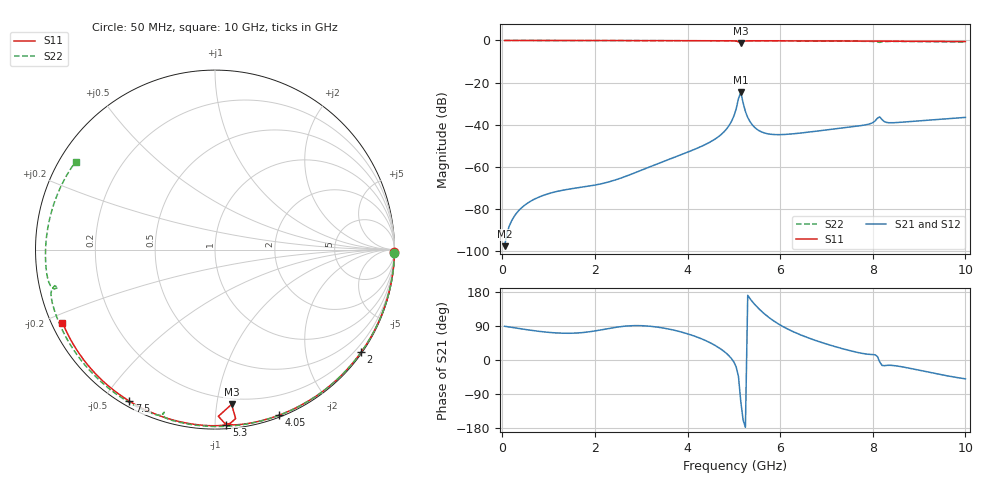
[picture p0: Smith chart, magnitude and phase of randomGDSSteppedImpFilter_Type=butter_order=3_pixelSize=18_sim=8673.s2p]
! freq	dB(S11)	phase(S11)	dB(S12)	phase(S12)
!  dB(S21)	phase(S21)	dB(S22)	phase(S22)
!S-par simulation data
#  GHz  S  DB  R 50
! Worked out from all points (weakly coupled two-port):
!   200 points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, 50 MHz to 10 GHz, reference 50 ohm
!   highest |S21| = -24.65 dB at 5.15 GHz (marker M1); lowest = -97.7 dB at 50 MHz (marker M2)
!   lowest |S11| = -1.2 dB at 5.15 GHz (marker M3), VSWR 14.05, Z = 7.91 - j55 ohm
!   |S11| at or under -10 dB: nowhere
!   |S22| runs from -0.9 to 0.0 dB; largest |S21 - S12| = 0
!   S11 on the Smith chart (normalised r, x): 50 MHz: open; 2 GHz: 0.03, -3.16; 4.05 GHz: 0.02, -1.46; 5.3 GHz: 0.02, -1.07; 7.5 GHz: 0.02, -0.58; 10 GHz: 0.03, -0.23
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0.05  -0.00 -0.9  -97.70 89.0  -97.70 89.0  -0.00 -1.1
0.4  -0.01 -7.2  -79.80 82.3  -79.80 82.3  -0.01 -9.0
0.9  -0.02 -16.0  -73.46 74.2  -73.46 74.2  -0.02 -20.1
1.75  -0.04 -30.8  -69.59 72.6  -69.59 72.6  -0.05 -38.6
2  -0.04 -35.1  -68.69 76.7  -68.69 76.7  -0.06 -44.0
3.4  -0.08 -58.5  -58.18 85.9  -58.18 85.9  -0.10 -73.2
4.05  -0.10 -69.0  -52.63 67.2  -52.63 67.2  -0.12 -86.3
4.75  -0.13 -80.3  -44.20 26.2  -44.20 26.2  -0.15 -100.1
4.95  -0.16 -84.1  -38.41 3.6  -38.41 3.6  -0.17 -104.2
5.05  -0.28 -86.9  -32.55 -18.0  -32.55 -18.0  -0.20 -106.5
5.15  -1.24 -83.9  -24.65 -109.8  -24.65 -109.8  -0.45 -107.3
5.25  -0.26 -84.9  -33.76 -177.7  -33.76 -177.7  -0.21 -109.0
5.3  -0.20 -86.3  -36.58 170.7  -36.58 170.7  -0.20 -110.2
5.45  -0.16 -89.3  -41.30 146.8  -41.30 146.8  -0.19 -113.3
5.7  -0.16 -93.4  -44.17 117.7  -44.17 117.7  -0.20 -118.2
6.7  -0.21 -108.1  -43.30 54.3  -43.30 54.3  -0.27 -137.6
7.5  -0.27 -119.5  -41.15 24.9  -41.15 24.9  -0.35 -153.7
7.95  -0.30 -125.8  -39.51 14.7  -39.51 14.7  -0.44 -163.6
8.15  -0.32 -128.5  -36.30 -5.0  -36.30 -5.0  -0.92 -166.4
8.35  -0.34 -131.3  -39.08 -13.9  -39.08 -13.9  -0.48 -170.2
9.2  -0.42 -143.1  -37.84 -31.9  -37.84 -31.9  -0.56 169.5
10  -0.52 -154.4  -36.53 -49.7  -36.53 -49.7  -0.75 147.7
